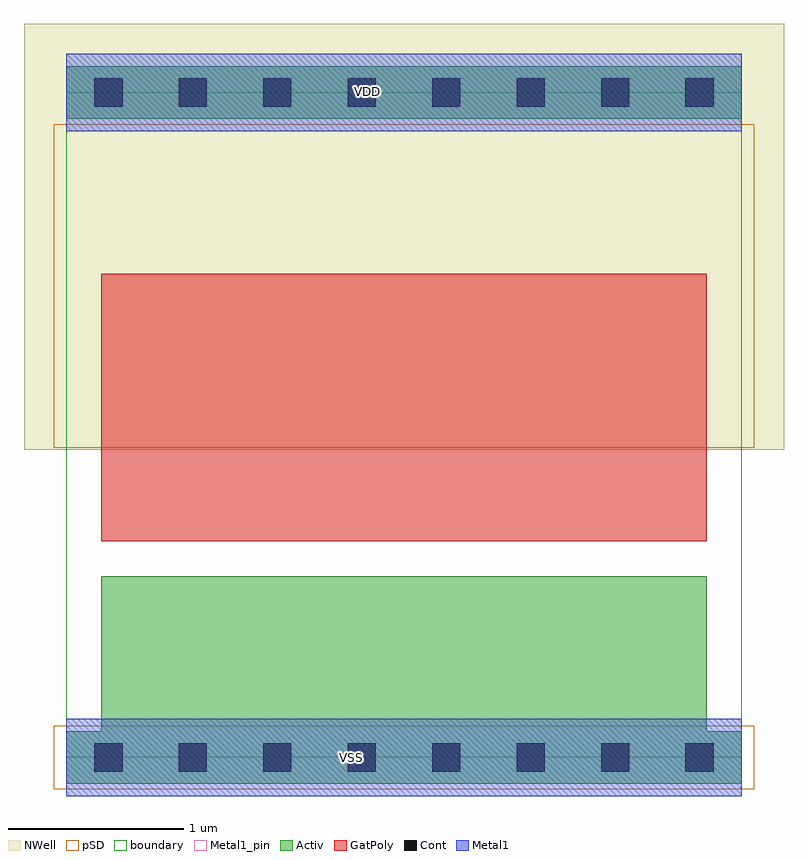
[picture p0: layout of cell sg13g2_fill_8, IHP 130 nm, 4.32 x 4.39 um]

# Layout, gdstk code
import gdstk
lib = gdstk.Library(unit=1e-6, precision=1e-09)
def R(c, l, rs):  # rectangles x0, y0, x1, y1
    for r in rs: c.add(gdstk.rectangle(r[:2], r[2:], *l))
def A(c, l, x, y, w, h, nx, ny, dx, dy):  # array of equal rectangles
    R(c, l, [(x+i*dx, y+j*dy, x+i*dx+w, y+j*dy+h) for i in range(nx) for j in range(ny)])
Activ = (1, 0)
GatPoly = (5, 0)
Cont = (6, 0)
Metal1 = (8, 0)
Metal1_pin = (8, 2)
pSD = (14, 0)
NWell = (31, 0)
boundary = (189, 4)

sg13g2_fill_8 = lib.new_cell('sg13g2_fill_8')
R(sg13g2_fill_8, Activ, [(0,-0.15,3.84,0.15), (0.2,0.15,3.64,1.03), (0,3.63,3.84,3.93)])
R(sg13g2_fill_8, GatPoly, [(0.2,1.23,3.64,2.75)])
A(sg13g2_fill_8, Cont, 0.16, -0.08, 0.16, 0.16, 8, 2, 0.48, 3.78)
R(sg13g2_fill_8, Metal1, [(0,-0.22,3.84,0.22), (0,3.56,3.84,4)])
R(sg13g2_fill_8, Metal1_pin, [(0,-0.22,3.84,0.22), (0,3.56,3.84,4)])
R(sg13g2_fill_8, pSD, [(-0.07,-0.18,3.91,0.18), (-0.07,1.76,3.91,3.6)])
R(sg13g2_fill_8, NWell, [(-0.24,1.75,4.08,4.17)])
R(sg13g2_fill_8, boundary, [(0,0,3.84,3.78)])
sg13g2_fill_8.add(gdstk.Label('VDD', (1.715,3.785), layer=8, texttype=25))
sg13g2_fill_8.add(gdstk.Label('VSS', (1.62,0), layer=8, texttype=25))

lib.write_gds('sg13g2_fill_8.gds')
